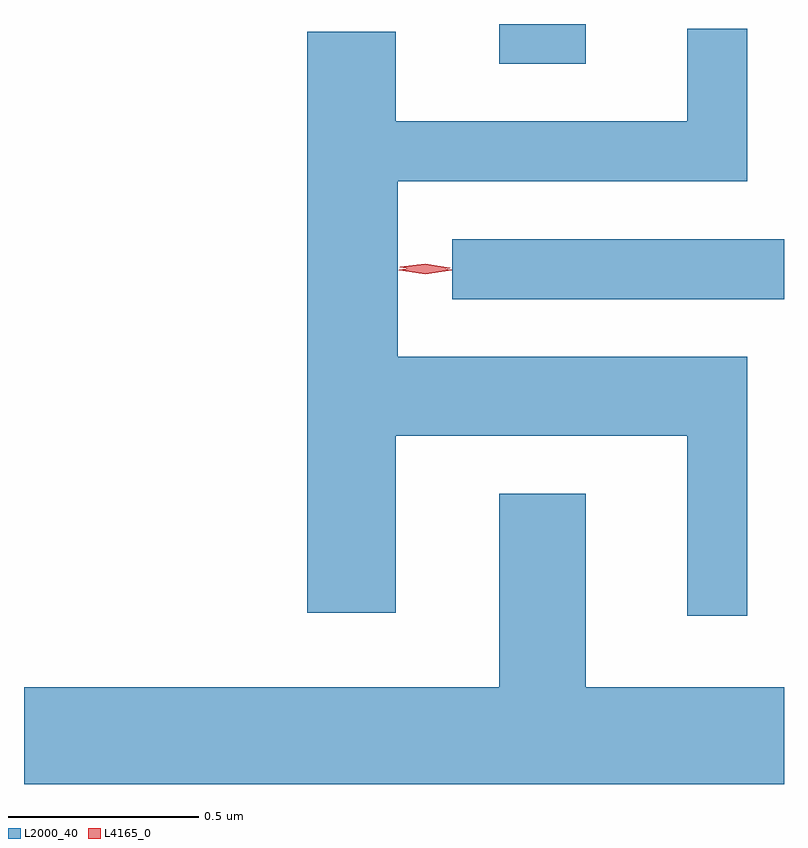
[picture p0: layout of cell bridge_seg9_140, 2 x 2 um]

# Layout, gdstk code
import gdstk
lib = gdstk.Library(unit=1e-6, precision=1e-09)
def R(c, l, rs):  # rectangles x0, y0, x1, y1
    for r in rs: c.add(gdstk.rectangle(r[:2], r[2:], *l))
def P(c, l, *ps):  # polygons
    for p in ps: c.add(gdstk.Polygon(p, *l))
L2000_40 = (2000, 40)
L4165_0 = (4165, 0)

bridge_seg9_140 = lib.new_cell('bridge_seg9_140')
R(bridge_seg9_140, L2000_40, [(1315.688,2017.526,1316.561,2017.684), (1315.811,2018.146,1316.039,2018.25)])
P(bridge_seg9_140, L2000_40, [(1316.464,2017.374),(1315.544,2017.374),(1315.544,2017.836),(1316.464,2017.836),(1316.464,2018.238),(1316.306,2018.238),(1316.306,2017.994),(1315.539,2017.994),(1315.539,2018.229),(1315.306,2018.229),(1315.306,2016.701),(1315.539,2016.701),(1315.539,2017.166),(1316.306,2017.166),(1316.306,2016.693),(1316.464,2016.693)],
  [(1316.561,2016.504),(1316.039,2016.504),(1316.039,2017.014),(1315.811,2017.014),(1315.811,2016.504),(1314.561,2016.504),(1314.561,2016.25),(1316.561,2016.25)])
P(bridge_seg9_140, L4165_0, [(1315.617,2017.592),(1315.548,2017.602),(1315.547,2017.602),(1315.548,2017.603),(1315.617,2017.612),(1315.686,2017.603),(1315.686,2017.602),(1315.686,2017.602)],
  [(1315.616,2017.599),(1315.551,2017.61),(1315.55,2017.61),(1315.551,2017.611),(1315.617,2017.619),(1315.682,2017.608),(1315.683,2017.608),(1315.682,2017.607)])

lib.write_gds('bridge_seg9_140.gds')
